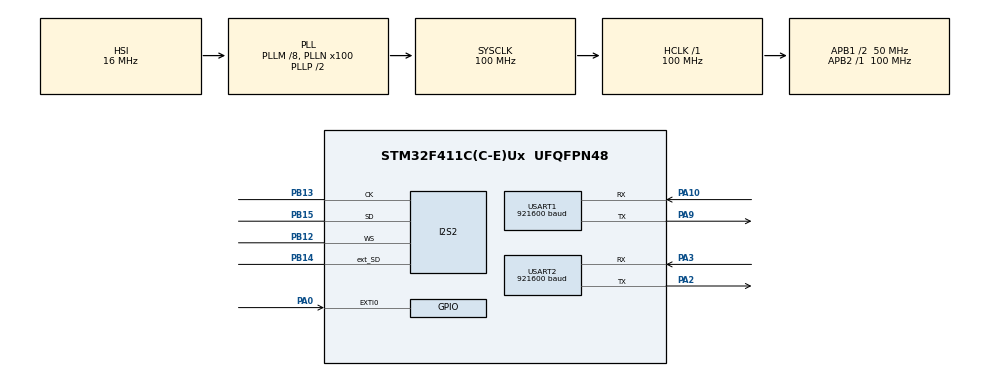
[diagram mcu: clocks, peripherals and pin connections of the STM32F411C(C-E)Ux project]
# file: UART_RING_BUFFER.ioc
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Dma.I2S2_EXT_TX.2.Direction=DMA_MEMORY_TO_PERIPH
Dma.I2S2_EXT_TX.2.FIFOMode=DMA_FIFOMODE_DISABLE
Dma.I2S2_EXT_TX.2.Instance=DMA1_Stream4
Dma.I2S2_EXT_TX.2.MemDataAlignment=DMA_MDATAALIGN_HALFWORD
Dma.I2S2_EXT_TX.2.MemInc=DMA_MINC_ENABLE
Dma.I2S2_EXT_TX.2.Mode=DMA_CIRCULAR
Dma.I2S2_EXT_TX.2.PeriphDataAlignment=DMA_PDATAALIGN_HALFWORD
Dma.I2S2_EXT_TX.2.PeriphInc=DMA_PINC_DISABLE
Dma.I2S2_EXT_TX.2.Priority=DMA_PRIORITY_LOW
Dma.Request0=USART2_RX
Dma.Request1=USART1_RX
Dma.Request2=I2S2_EXT_TX
Dma.Request3=SPI2_RX
Dma.SPI2_RX.3.Direction=DMA_PERIPH_TO_MEMORY
Dma.SPI2_RX.3.FIFOMode=DMA_FIFOMODE_DISABLE
Dma.SPI2_RX.3.Instance=DMA1_Stream3
Dma.SPI2_RX.3.MemDataAlignment=DMA_MDATAALIGN_HALFWORD
Dma.SPI2_RX.3.MemInc=DMA_MINC_ENABLE
Dma.SPI2_RX.3.Mode=DMA_CIRCULAR
Dma.SPI2_RX.3.PeriphDataAlignment=DMA_PDATAALIGN_HALFWORD
Dma.SPI2_RX.3.PeriphInc=DMA_PINC_DISABLE
Dma.SPI2_RX.3.Priority=DMA_PRIORITY_LOW
Dma.USART1_RX.1.Direction=DMA_PERIPH_TO_MEMORY
Dma.USART1_RX.1.FIFOMode=DMA_FIFOMODE_DISABLE
Dma.USART1_RX.1.Instance=DMA2_Stream2
Dma.USART1_RX.1.MemDataAlignment=DMA_MDATAALIGN_BYTE
Dma.USART1_RX.1.MemInc=DMA_MINC_ENABLE
Dma.USART1_RX.1.Mode=DMA_CIRCULAR
Dma.USART1_RX.1.PeriphDataAlignment=DMA_PDATAALIGN_BYTE
Dma.USART1_RX.1.PeriphInc=DMA_PINC_DISABLE
Dma.USART1_RX.1.Priority=DMA_PRIORITY_LOW
Dma.USART2_RX.0.Direction=DMA_PERIPH_TO_MEMORY
Dma.USART2_RX.0.FIFOMode=DMA_FIFOMODE_DISABLE
Dma.USART2_RX.0.Instance=DMA1_Stream5
Dma.USART2_RX.0.MemDataAlignment=DMA_MDATAALIGN_BYTE
Dma.USART2_RX.0.MemInc=DMA_MINC_ENABLE
Dma.USART2_RX.0.Mode=DMA_CIRCULAR
Dma.USART2_RX.0.PeriphDataAlignment=DMA_PDATAALIGN_BYTE
Dma.USART2_RX.0.PeriphInc=DMA_PINC_DISABLE
Dma.USART2_RX.0.Priority=DMA_PRIORITY_LOW
I2S2.AudioFreq=I2S_AUDIOFREQ_16K
I2S2.DataFormat=I2S_DATAFORMAT_24B
I2S2.ErrorAudioFreq=-0.26 %
I2S2.FullDuplexMode=I2S_FULLDUPLEXMODE_ENABLE
I2S2.Instance=SPI$Index
I2S2.Mode=I2S_MODE_MASTER_RX
I2S2.RealAudioFreq=15.957 KHz
I2S2.VirtualMode=I2S_MODE_MASTER
Mcu.Family=STM32F4
Mcu.Name=STM32F411C(C-E)Ux
Mcu.Package=UFQFPN48
NVIC.DMA1_Stream3_IRQn=true\:0\:0\:false\:false\:true\:false\:true\:true
NVIC.DMA1_Stream4_IRQn=true\:0\:0\:false\:false\:true\:false\:true\:true
NVIC.DMA1_Stream5_IRQn=true\:0\:0\:false\:false\:true\:false\:true\:true
NVIC.DMA2_Stream2_IRQn=true\:0\:0\:false\:false\:true\:false\:true\:true
NVIC.EXTI0_IRQn=true\:0\:0\:false\:false\:true\:true\:true\:true
NVIC.PriorityGroup=NVIC_PRIORITYGROUP_4
NVIC.SPI2_IRQn=true\:0\:0\:false\:false\:true\:true\:true\:true
NVIC.TIM1_BRK_TIM9_IRQn=true\:15\:0\:false\:false\:true\:false\:true\:true
NVIC.TimeBase=TIM1_BRK_TIM9_IRQn
NVIC.TimeBaseIP=TIM9
NVIC.USART1_IRQn=true\:0\:0\:false\:false\:true\:true\:true\:true
NVIC.USART2_IRQn=true\:0\:0\:false\:false\:true\:true\:true\:true
PA0-WKUP.GPIO_PuPd=GPIO_PULLDOWN
PA0-WKUP.Signal=GPXTI0
PA10.Mode=Asynchronous
PA10.Signal=USART1_RX
PA2.Mode=Asynchronous
PA2.Signal=USART2_TX
PA3.Mode=Asynchronous
PA3.Signal=USART2_RX
PA9.Mode=Asynchronous
PA9.Signal=USART1_TX
PB12.Mode=Full_Duplex_Master
PB12.Signal=I2S2_WS
PB13.Mode=Full_Duplex_Master
PB13.Signal=I2S2_CK
PB14.Mode=Full_Duplex_Master
PB14.Signal=I2S2_ext_SD
PB15.Mode=Full_Duplex_Master
PB15.Signal=I2S2_SD
ProjectManager.HeapSize=0x200
ProjectManager.StackSize=0x400
ProjectManager.TargetToolchain=STM32CubeIDE
RCC.48MHZClocksFreq_Value=50000000
RCC.AHBFreq_Value=100000000
RCC.APB1CLKDivider=RCC_HCLK_DIV2
RCC.APB1Freq_Value=50000000
RCC.APB1TimFreq_Value=100000000
RCC.APB2Freq_Value=100000000
RCC.APB2TimFreq_Value=100000000
RCC.CortexFreq_Value=100000000
RCC.HCLKFreq_Value=100000000
RCC.HSE_VALUE=25000000
RCC.HSI_VALUE=16000000
RCC.LSE_VALUE=32768
RCC.PLLM=8
RCC.PLLN=100
RCC.SYSCLKFreq_VALUE=100000000
RCC.SYSCLKSource=RCC_SYSCLKSOURCE_PLLCLK
RCC.VCOOutputFreq_Value=200000000
USART1.BaudRate=921600
USART1.VirtualMode=VM_ASYNC
USART2.BaudRate=921600
USART2.VirtualMode=VM_ASYNC
VP_SYS_VS_tim9.Mode=TIM9
board=custom

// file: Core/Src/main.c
/* USER CODE BEGIN Header */
/**
  ******************************************************************************
  * @file           : main.c
  * @brief          : Main program body
  ******************************************************************************
  * @attention
  *
  * Copyright (c) 2026 STMicroelectronics.
  * All rights reserved.
  *
  * This software is licensed under terms that can be found in the LICENSE file
  * in the root directory of this software component.
  * If no LICENSE file comes with this software, it is provided AS-IS.
  *
  ******************************************************************************
  */
/* USER CODE END Header */
#include "main.h"

/* USER CODE BEGIN Includes */
#include <stdio.h>
#include <string.h>
#include <stdlib.h>
/* USER CODE END Includes */

/* USER CODE BEGIN PD */
#define RX_BUFF_SIZE      2048
#define RING_BUFF_SIZE    2048

//I2S2 peripheral
#define I2S_SLOTS_TOTAL   512U
#define I2S_HALFWORDS     (I2S_SLOTS_TOTAL * 2U)

/* === FINAL: ESP32 State Machine Timing === */
#define ESP_CMD_TIMEOUT_MS       10000
#define ESP_WIFI_TIMEOUT_MS      20000
#define ESP_TCP_TIMEOUT_MS       15000
#define ESP_RETRY_MAX            5
#define ESP_TCP_RETRY_DELAY_MS   5000

/* === FINAL: TCP Audio Streaming === */
#define TCP_CHUNK_SIZE           2048   // audio payload per frame
#define TCP_SEND_WAIT_MS         15
/* USER CODE END PD */

I2S_HandleTypeDef hi2s2;
I2S_HandleTypeDef hi2s2ext;
DMA_HandleTypeDef hdma_i2s2_ext_tx;
DMA_HandleTypeDef hdma_spi2_rx;

UART_HandleTypeDef huart1;
UART_HandleTypeDef huart2;
DMA_HandleTypeDef hdma_usart1_rx;
DMA_HandleTypeDef hdma_usart2_rx;

/* USER CODE BEGIN PV */
uint8_t rx_buffer[RX_BUFF_SIZE];
uint8_t esp32_rx_buffer[RX_BUFF_SIZE];
uint8_t ring_buffer[RING_BUFF_SIZE];

uint16_t rx_curr_pos = 0;
uint16_t rx_prev_pos = 0;
uint16_t ring_head = 0;
uint16_t ring_tail = 0;
uint8_t esp_ring_buffer[RING_BUFF_SIZE];

uint16_t esp_rx_curr_pos = 0;
uint16_t esp_rx_prev_pos = 0;
uint16_t esp_ring_head = 0;
uint16_t esp_ring_tail = 0;

//I2S2 peripheral
static uint16_t i2sBuffer[I2S_HALFWORDS];
volatile uint8_t bufHalfReady = 0;
volatile uint8_t bufFullReady = 0;

/* === Stage 2: Audio streaming === */
#define SAMPLES_PER_HALF  128
#define BYTES_PER_HALF    (SAMPLES_PER_HALF * sizeof(int16_t))

static int16_t audioBufA[SAMPLES_PER_HALF];
static int16_t audioBufB[SAMPLES_PER_HALF];
static volatile uint8_t fillIndex = 0;
static volatile uint8_t sendReady = 0;
static volatile uint8_t isRecording = 0;

/* === FINAL: Button debounce & safe flags === */
static volatile uint32_t lastButtonMs = 0;
static volatile uint8_t btnPressFlag = 0;
static volatile uint8_t btnReleaseFlag = 0;
static volatile uint8_t btnLastState = 0;
#define BTN_DEBOUNCE_MS 300

/* === FINAL: TCP Audio Buffers (length-prefixed) === */
// Each chunk on wire: [2-byte len, little-endian][2048 bytes audio]
#define TCP_WIRE_SIZE      (2 + TCP_CHUNK_SIZE)
static uint8_t tcpAccumA[TCP_CHUNK_SIZE];
static uint8_t tcpAccumB[TCP_CHUNK_SIZE];
static uint8_t *tcpAccumFill = tcpAccumA;
static uint8_t *tcpAccumSendPtr = NULL;
static uint16_t tcpAccumIdx = 0;
static uint16_t tcpSendLen = 0;  // total wire bytes (prefix + audio)
static volatile uint8_t tcpSendPending = 0;

typedef enum {
    TCP_IDLE,
    TCP_CMD,
    TCP_WAIT,
    TCP_DATA,
    TCP_WAIT_OK
} TCP_SendState_t;
static TCP_SendState_t tcpSendState = TCP_IDLE;
static uint32_t tcpTimer = 0;

/* === FINAL: ESP32 State Machine === */
typedef enum {
    ESP_INIT,
    ESP_WAIT_AT,
    ESP_SET_MODE,
    ESP_WAIT_MODE,
    ESP_SET_MUX,
    ESP_WAIT_MUX,
    ESP_CONNECT_WIFI,
    ESP_WAIT_WIFI,
    ESP_VERIFY_IP,
    ESP_WAIT_IP,
    ESP_WIFI_READY,
    ESP_TCP_START,
    ESP_WAIT_TCP_CONNECT,
    ESP_TCP_CLOSE_FOR_RETRY,
    ESP_WAIT_CLOSE,
    ESP_TCP_TEST_SEND,
    ESP_WAIT_PROMPT,
    ESP_WAIT_SEND_OK,
    ESP_AUDIO_READY,
    ESP_ERROR
} ESP_State_t;

static ESP_State_t espState = ESP_INIT;
static uint32_t espTimer = 0;
static uint32_t espBootDelay = 0;
static uint8_t atRetries = 0;

static uint8_t respOK = 0;
static uint8_t respError = 0;
static uint8_t respConnect = 0;
static uint8_t respAlreadyConnected = 0;
static uint8_t respSendOK = 0;
static uint8_t respClosed = 0;
static uint32_t tcpRetryDelay = 0;

static char espStaIp[16] = {0};

/* USER CODE END PV */

void SystemClock_Config(void);
static void MX_GPIO_Init(void);
static void MX_DMA_Init(void);
static void MX_USART2_UART_Init(void);
static void MX_USART1_UART_Init(void);
static void MX_I2S2_Init(void);
/* USER CODE BEGIN PFP */
void ProcessAudioBlock(uint16_t *data, uint16_t numHalfwords);
void ESP32_ProcessResponses(void);
void ESP32_StateMachine(void);
void TCP_AudioSendStateMachine(void);
void ring_buffer_write(uint8_t *data, uint16_t len);
void esp_ring_buffer_write(uint8_t *data, uint16_t len);
/* USER CODE END PFP */

int main(void)
{

  /* MCU Configuration--------------------------------------------------------*/

  /* Reset of all peripherals, Initializes the Flash interface and the Systick. */
  HAL_Init();

  /* Configure the system clock */
  SystemClock_Config();

  /* Initialize all configured peripherals */
  MX_GPIO_Init();
  MX_DMA_Init();
  MX_USART2_UART_Init();
  MX_USART1_UART_Init();
  MX_I2S2_Init();
  /* USER CODE BEGIN 2 */
  HAL_UART_Receive_DMA(&huart1, esp32_rx_buffer, RX_BUFF_SIZE);
  __HAL_UART_ENABLE_IT(&huart1, UART_IT_IDLE);
  static uint16_t txDummyBuffer[I2S_HALFWORDS] = {0};
  // CORRECT — 4 arguments, only the main handle
  HAL_I2SEx_TransmitReceive_DMA(&hi2s2, txDummyBuffer, i2sBuffer, I2S_SLOTS_TOTAL);
  /* Infinite loop */
  while (1)
  {
	  /* USER CODE BEGIN 3 */
	        ESP32_ProcessResponses();
	        ESP32_StateMachine();

	        if (btnPressFlag)
	        {
	            btnPressFlag = 0;
	            if (espState == ESP_AUDIO_READY) {
	                HAL_UART_Transmit(&huart2, (uint8_t*)"REC START\r\n", 11, 100);
	            } else {
	                HAL_UART_Transmit(&huart2, (uint8_t*)"BTN: not ready\r\n", 16, 100);
	            }
	        }
	        if (btnReleaseFlag)
	        {
	            btnReleaseFlag = 0;
	            HAL_UART_Transmit(&huart2, (uint8_t*)"REC STOP\r\n", 10, 100);
	        }

	        if (tcpSendPending && tcpSendState == TCP_IDLE && espState == ESP_AUDIO_READY)
	        {
	            tcpSendPending = 0;
	            tcpSendState = TCP_CMD;
	        }
	        TCP_AudioSendStateMachine();

	        if (bufHalfReady) {
	            bufHalfReady = 0;
	            ProcessAudioBlock(&i2sBuffer[0], I2S_HALFWORDS / 2U);
	        }
	        if (bufFullReady) {
	            bufFullReady = 0;
	            ProcessAudioBlock(&i2sBuffer[I2S_HALFWORDS / 2U], I2S_HALFWORDS / 2U);
	        }
	  /* USER CODE END 3 */

  }
}

void SystemClock_Config(void)
{
  RCC_OscInitTypeDef RCC_OscInitStruct = {0};
  RCC_ClkInitTypeDef RCC_ClkInitStruct = {0};

  /** Configure the main internal regulator output voltage
  */
  __HAL_RCC_PWR_CLK_ENABLE();
  __HAL_PWR_VOLTAGESCALING_CONFIG(PWR_REGULATOR_VOLTAGE_SCALE1);

  /** Initializes the RCC Oscillators according to the specified parameters
  * in the RCC_OscInitTypeDef structure.
  */
  RCC_OscInitStruct.OscillatorType = RCC_OSCILLATORTYPE_HSI;
  RCC_OscInitStruct.HSIState = RCC_HSI_ON;
  RCC_OscInitStruct.HSICalibrationValue = RCC_HSICALIBRATION_DEFAULT;
  RCC_OscInitStruct.PLL.PLLState = RCC_PLL_ON;
  RCC_OscInitStruct.PLL.PLLSource = RCC_PLLSOURCE_HSI;
  RCC_OscInitStruct.PLL.PLLM = 8;
  RCC_OscInitStruct.PLL.PLLN = 100;
  RCC_OscInitStruct.PLL.PLLP = RCC_PLLP_DIV2;
  RCC_OscInitStruct.PLL.PLLQ = 4;
  if (HAL_RCC_OscConfig(&RCC_OscInitStruct) != HAL_OK)
  {
    Error_Handler();
  }

  /** Initializes the CPU, AHB and APB buses clocks
  */
  RCC_ClkInitStruct.ClockType = RCC_CLOCKTYPE_HCLK|RCC_CLOCKTYPE_SYSCLK
                              |RCC_CLOCKTYPE_PCLK1|RCC_CLOCKTYPE_PCLK2;
  RCC_ClkInitStruct.SYSCLKSource = RCC_SYSCLKSOURCE_PLLCLK;
  RCC_ClkInitStruct.AHBCLKDivider = RCC_SYSCLK_DIV1;
  RCC_ClkInitStruct.APB1CLKDivider = RCC_HCLK_DIV2;
  RCC_ClkInitStruct.APB2CLKDivider = RCC_HCLK_DIV1;

  if (HAL_RCC_ClockConfig(&RCC_ClkInitStruct, FLASH_LATENCY_3) != HAL_OK)
  {
    Error_Handler();
  }
}

static void MX_I2S2_Init(void)
{

  hi2s2.Instance = SPI2;
  hi2s2.Init.Mode = I2S_MODE_MASTER_RX;
  hi2s2.Init.Standard = I2S_STANDARD_PHILIPS;
  hi2s2.Init.DataFormat = I2S_DATAFORMAT_24B;
  hi2s2.Init.MCLKOutput = I2S_MCLKOUTPUT_DISABLE;
  hi2s2.Init.AudioFreq = I2S_AUDIOFREQ_16K;
  hi2s2.Init.CPOL = I2S_CPOL_LOW;
  hi2s2.Init.ClockSource = I2S_CLOCK_PLL;
  hi2s2.Init.FullDuplexMode = I2S_FULLDUPLEXMODE_ENABLE;
  if (HAL_I2S_Init(&hi2s2) != HAL_OK)
  {
    Error_Handler();
  }
  /* USER CODE BEGIN I2S2_Init 2 */
  /* USER CODE BEGIN I2S2_Init 2 */
  hi2s2ext.Instance = I2S2ext;
  hi2s2ext.Init.Mode = I2S_MODE_SLAVE_TX;
  hi2s2ext.Init.Standard = I2S_STANDARD_PHILIPS;
  hi2s2ext.Init.DataFormat = I2S_DATAFORMAT_24B;
  hi2s2ext.Init.MCLKOutput = I2S_MCLKOUTPUT_DISABLE;
  hi2s2ext.Init.AudioFreq = I2S_AUDIOFREQ_16K;
  hi2s2ext.Init.CPOL = I2S_CPOL_LOW;
  hi2s2ext.Init.ClockSource = I2S_CLOCK_PLL;
  hi2s2ext.Init.FullDuplexMode = I2S_FULLDUPLEXMODE_DISABLE;
  if (HAL_I2S_Init(&hi2s2ext) != HAL_OK)
  {
      Error_Handler();
  }
  /* USER CODE END I2S2_Init 2 */

  /* USER CODE END I2S2_Init 2 */

}

static void MX_USART1_UART_Init(void)
{

  huart1.Instance = USART1;
  huart1.Init.BaudRate = 921600;
  huart1.Init.WordLength = UART_WORDLENGTH_8B;
  huart1.Init.StopBits = UART_STOPBITS_1;
  huart1.Init.Parity = UART_PARITY_NONE;
  huart1.Init.Mode = UART_MODE_TX_RX;
  huart1.Init.HwFlowCtl = UART_HWCONTROL_NONE;
  huart1.Init.OverSampling = UART_OVERSAMPLING_16;
  if (HAL_UART_Init(&huart1) != HAL_OK)
  {
    Error_Handler();
  }

}

static void MX_USART2_UART_Init(void)
{

  huart2.Instance = USART2;
  huart2.Init.BaudRate = 921600;
  huart2.Init.WordLength = UART_WORDLENGTH_8B;
  huart2.Init.StopBits = UART_STOPBITS_1;
  huart2.Init.Parity = UART_PARITY_NONE;
  huart2.Init.Mode = UART_MODE_TX_RX;
  huart2.Init.HwFlowCtl = UART_HWCONTROL_NONE;
  huart2.Init.OverSampling = UART_OVERSAMPLING_16;
  if (HAL_UART_Init(&huart2) != HAL_OK)
  {
    Error_Handler();
  }

}

static void MX_DMA_Init(void)
{

  /* DMA controller clock enable */
  __HAL_RCC_DMA1_CLK_ENABLE();
  __HAL_RCC_DMA2_CLK_ENABLE();

  /* DMA interrupt init */
  /* DMA1_Stream3_IRQn interrupt configuration */
  HAL_NVIC_SetPriority(DMA1_Stream3_IRQn, 0, 0);
  HAL_NVIC_EnableIRQ(DMA1_Stream3_IRQn);
  /* DMA1_Stream4_IRQn interrupt configuration */
  HAL_NVIC_SetPriority(DMA1_Stream4_IRQn, 0, 0);
  HAL_NVIC_EnableIRQ(DMA1_Stream4_IRQn);
  /* DMA1_Stream5_IRQn interrupt configuration */
  HAL_NVIC_SetPriority(DMA1_Stream5_IRQn, 0, 0);
  HAL_NVIC_EnableIRQ(DMA1_Stream5_IRQn);
  /* DMA2_Stream2_IRQn interrupt configuration */
  HAL_NVIC_SetPriority(DMA2_Stream2_IRQn, 0, 0);
  HAL_NVIC_EnableIRQ(DMA2_Stream2_IRQn);

}

static void MX_GPIO_Init(void)
{
  GPIO_InitTypeDef GPIO_InitStruct = {0};

  /* GPIO Ports Clock Enable */
  __HAL_RCC_GPIOA_CLK_ENABLE();
  __HAL_RCC_GPIOB_CLK_ENABLE();

  /*Configure GPIO pin : PA0 */
  GPIO_InitStruct.Pin = GPIO_PIN_0;
  GPIO_InitStruct.Mode = GPIO_MODE_IT_RISING_FALLING;  // Was GPIO_MODE_IT_RISING
  GPIO_InitStruct.Pull = GPIO_PULLDOWN;
  HAL_GPIO_Init(GPIOA, &GPIO_InitStruct);

  /* EXTI interrupt init*/
  HAL_NVIC_SetPriority(EXTI0_IRQn, 0, 0);
  HAL_NVIC_EnableIRQ(EXTI0_IRQn);

}

/* USER CODE BEGIN 4 */

/* === FINAL: ESP32 Helper Functions === */

int ESP32_ReadLine(char *line, uint16_t maxLen)
{
    uint16_t i = 0;
    uint16_t tempTail = esp_ring_tail;

    while (tempTail != esp_ring_head && i < maxLen - 1)
    {
        line[i] = esp_ring_buffer[tempTail];
        tempTail = (tempTail + 1) % RING_BUFF_SIZE;
        i++;

        if (i >= 2 && line[i - 2] == '\r' && line[i - 1] == '\n')
        {
            line[i] = '\0';
            esp_ring_tail = tempTail;
            return i;
        }
    }
    return 0;
}

uint8_t ESP32_ParseCIFSR_IP(const char *line, char *ipOut, uint8_t maxLen)
{
    const char *p = strstr(line, "STAIP,");
    if (!p) return 0;
    p = strchr(p, '"');
    if (!p) return 0;
    p++;
    uint8_t i = 0;
    while (*p && *p != '"' && i < maxLen - 1)
    {
        ipOut[i++] = *p++;
    }
    ipOut[i] = '\0';
    return (i > 0 && strcmp(ipOut, "0.0.0.0") != 0);
}

void ESP32_ProcessResponses(void)
{
    char line[128];
    while (ESP32_ReadLine(line, sizeof(line)))
    {
        if (strstr(line, "SEND OK"))
            respSendOK = 1;
        if (strstr(line, "OK"))
            respOK = 1;
        if (strstr(line, "ERROR") || strstr(line, "FAIL") || strstr(line, "busy"))
            respError = 1;
        if (strstr(line, "CONNECT") && !strstr(line, "FAIL"))
            respConnect = 1;
        if (strstr(line, "ALREADY CONNECTED"))
            respAlreadyConnected = 1;
        if (strstr(line, "CLOSED"))
            respClosed = 1;
        if (ESP32_ParseCIFSR_IP(line, espStaIp, sizeof(espStaIp))) { /* IP parsed */ }
    }
}

void ESP32_ClearFlags(void)
{
    respOK = 0;
    respError = 0;
    respConnect = 0;
    respAlreadyConnected = 0;
    respSendOK = 0;
    respClosed = 0;
}

void ESP32_SendCommand(const char *cmd)
{
    HAL_UART_Transmit(&huart1, (uint8_t*)cmd, strlen(cmd), HAL_MAX_DELAY);
    ESP32_ClearFlags();
    espTimer = HAL_GetTick();
}

void ESP32_StateMachine(void)
{
    switch (espState)
    {
        case ESP_INIT:
            if (espBootDelay == 0) espBootDelay = HAL_GetTick();
            if ((HAL_GetTick() - espBootDelay) > 2000)
            {
                HAL_UART_Transmit(&huart2, (uint8_t*)"[ESP] Stage 1: Starting...\r\n", 28, 100);
                ESP32_SendCommand("AT\r\n");
                espState = ESP_WAIT_AT;
            }
            break;

        case ESP_WAIT_AT:
            if (respOK) {
                HAL_UART_Transmit(&huart2, (uint8_t*)"[ESP] AT OK\r\n", 13, 100);
                ESP32_SendCommand("AT+CWMODE=1\r\n");
                espState = ESP_WAIT_MODE; atRetries = 0;
            } else if (respError || (HAL_GetTick() - espTimer) > ESP_CMD_TIMEOUT_MS) {
                HAL_UART_Transmit(&huart2, (uint8_t*)"[ESP] AT fail, retry\r\n", 22, 100);
                espBootDelay = 0; espState = ESP_INIT; atRetries++;
                if (atRetries > ESP_RETRY_MAX) espState = ESP_ERROR;
            }
            break;

        case ESP_SET_MODE: espState = ESP_WAIT_MODE; break;

        case ESP_WAIT_MODE:
            if (respOK) {
                HAL_UART_Transmit(&huart2, (uint8_t*)"[ESP] STA mode OK\r\n", 19, 100);
                ESP32_SendCommand("AT+CIPMUX=0\r\n");
                espState = ESP_WAIT_MUX;
            } else if (respError || (HAL_GetTick() - espTimer) > ESP_CMD_TIMEOUT_MS) {
                HAL_UART_Transmit(&huart2, (uint8_t*)"[ESP] Mode fail\r\n", 17, 100);
                espState = ESP_INIT;
            }
            break;

        case ESP_SET_MUX: espState = ESP_WAIT_MUX; break;

        case ESP_WAIT_MUX:
            if (respOK) {
                HAL_UART_Transmit(&huart2, (uint8_t*)"[ESP] MUX=0 OK\r\n", 16, 100);
                char cmd[128];
                snprintf(cmd, sizeof(cmd), "AT+CWJAP=\"reenanup_2.4G\",\"15772424\"\r\n");
                ESP32_SendCommand(cmd);
                espState = ESP_WAIT_WIFI;
            } else if (respError || (HAL_GetTick() - espTimer) > ESP_CMD_TIMEOUT_MS) {
                HAL_UART_Transmit(&huart2, (uint8_t*)"[ESP] MUX fail\r\n", 16, 100);
                espState = ESP_INIT;
            }
            break;

        case ESP_CONNECT_WIFI: espState = ESP_WAIT_WIFI; break;

        case ESP_WAIT_WIFI:
            if (respOK && !respError) {
                HAL_UART_Transmit(&huart2, (uint8_t*)"[ESP] WiFi cmd OK, checking IP...\r\n", 35, 100);
                memset(espStaIp, 0, sizeof(espStaIp));
                ESP32_SendCommand("AT+CIFSR\r\n");
                espState = ESP_WAIT_IP;
            } else if (respError || (HAL_GetTick() - espTimer) > ESP_WIFI_TIMEOUT_MS) {
                HAL_UART_Transmit(&huart2, (uint8_t*)"[ESP] WiFi conn failed\r\n", 24, 100);
                espState = ESP_INIT;
            }
            break;

        case ESP_VERIFY_IP: espState = ESP_WAIT_IP; break;

        case ESP_WAIT_IP:
            if (respOK) {
                if (strlen(espStaIp) > 0) {
                    char msg[64];
                    snprintf(msg, sizeof(msg), "[ESP] IP=%s\r\n", espStaIp);
                    HAL_UART_Transmit(&huart2, (uint8_t*)msg, strlen(msg), 100);
                    HAL_UART_Transmit(&huart2, (uint8_t*)"[ESP] Stage 1 COMPLETE. WiFi Ready.\r\n", 37, 100);
                    espState = ESP_WIFI_READY; atRetries = 0;
                } else {
                    HAL_UART_Transmit(&huart2, (uint8_t*)"[ESP] IP=0.0.0.0, retry WiFi\r\n", 30, 100);
                    espState = ESP_INIT;
                }
            } else if (respError || (HAL_GetTick() - espTimer) > ESP_CMD_TIMEOUT_MS) {
                HAL_UART_Transmit(&huart2, (uint8_t*)"[ESP] IP check fail\r\n", 21, 100);
                espState = ESP_INIT;
            }
            break;

        case ESP_WIFI_READY:
        {
            static uint8_t announced = 0;
            if (!announced) { HAL_UART_Transmit(&huart2, (uint8_t*)"[ESP] Ready for Stage 2 (TCP)\r\n", 31, 100); announced = 1; }
            static uint32_t t2 = 0;
            if (t2 == 0) t2 = HAL_GetTick();
            if ((HAL_GetTick() - t2) > 1000) { espState = ESP_TCP_START; t2 = 0; }
            break;
        }

        case ESP_TCP_START:
            if (tcpRetryDelay > 0) {
                if ((HAL_GetTick() - tcpRetryDelay) < ESP_TCP_RETRY_DELAY_MS) break;
                tcpRetryDelay = 0;
            }
            HAL_UART_Transmit(&huart2, (uint8_t*)"[ESP] Stage 2: Connecting TCP...\r\n", 34, 100);
            /* === REPLACE IP WITH YOUR PC'S WIFI IP === */
            ESP32_SendCommand("AT+CIPSTART=\"TCP\",\"192.168.1.23\",12345\r\n");
            espState = ESP_WAIT_TCP_CONNECT;
            break;

        case ESP_WAIT_TCP_CONNECT:
            if (respConnect || respAlreadyConnected) {
                HAL_UART_Transmit(&huart2, (uint8_t*)"[ESP] TCP Connected\r\n", 21, 100);
                ESP32_ClearFlags();
                espState = ESP_TCP_TEST_SEND;
            } else if (respError || respClosed || (HAL_GetTick() - espTimer) > ESP_TCP_TIMEOUT_MS) {
                HAL_UART_Transmit(&huart2, (uint8_t*)"[ESP] TCP conn failed, closing...\r\n", 35, 100);
                ESP32_SendCommand("AT+CIPCLOSE\r\n");
                espState = ESP_TCP_CLOSE_FOR_RETRY;
            }
            break;

        case ESP_TCP_CLOSE_FOR_RETRY: espState = ESP_WAIT_CLOSE; break;

        case ESP_WAIT_CLOSE:
            if (respOK || respClosed || (HAL_GetTick() - espTimer) > 3000) {
                HAL_UART_Transmit(&huart2, (uint8_t*)"[ESP] Retry TCP in 5s...\r\n", 26, 100);
                tcpRetryDelay = HAL_GetTick();
                espState = ESP_TCP_START;
            }
            break;

        case ESP_TCP_TEST_SEND:
            ESP32_SendCommand("AT+CIPSEND=5\r\n");
            espState = ESP_WAIT_PROMPT;
            break;

        case ESP_WAIT_PROMPT:
            if (respError) {
                HAL_UART_Transmit(&huart2, (uint8_t*)"[ESP] CIPSEND rejected\r\n", 24, 100);
                espState = ESP_TCP_START;
            } else if ((HAL_GetTick() - espTimer) > 300) {
                HAL_UART_Transmit(&huart1, (uint8_t*)"HELLO", 5, HAL_MAX_DELAY);
                espState = ESP_WAIT_SEND_OK;
                espTimer = HAL_GetTick();
            }
            break;

        case ESP_WAIT_SEND_OK:
            if (respSendOK || respOK) {
                HAL_UART_Transmit(&huart2, (uint8_t*)"[ESP] HELLO OK. Audio ready.\r\n", 30, 100);
                espState = ESP_AUDIO_READY;
            } else if (respError || (HAL_GetTick() - espTimer) > 5000) {
                HAL_UART_Transmit(&huart2, (uint8_t*)"[ESP] Send timeout\r\n", 20, 100);
                espState = ESP_TCP_START;
            }
            break;

        case ESP_AUDIO_READY:
        {
            static uint8_t announced = 0;
            if (!announced) {
                HAL_UART_Transmit(&huart2, (uint8_t*)"[ESP] Stage 4 ACTIVE. Audio -> TCP.\r\n", 37, 100);
                HAL_UART_Transmit(&huart2, (uint8_t*)"[ESP] Press button to stream.\r\n", 31, 100);
                announced = 1;
            }
            break;
        }

        case ESP_ERROR:
            HAL_UART_Transmit(&huart2, (uint8_t*)"[ESP] FATAL. Reset in 5s...\r\n", 29, 100);
            HAL_Delay(5000);
            NVIC_SystemReset();
            break;

        default: espState = ESP_INIT; break;
    }
}

/* === FINAL: TCP Audio Send State Machine === */
void TCP_AudioSendStateMachine(void)
{
    switch (tcpSendState)
    {
        case TCP_IDLE: break;

        case TCP_CMD:
        {
            respSendOK = 0; respOK = 0; respError = 0; respClosed = 0;
            char cmd[32];
            snprintf(cmd, sizeof(cmd), "AT+CIPSEND=%d\r\n", tcpSendLen);
            HAL_UART_Transmit(&huart1, (uint8_t*)cmd, strlen(cmd), HAL_MAX_DELAY);

            // --- DEBUG ---
            char dbg[48];
            snprintf(dbg, sizeof(dbg), "[TCP] CMD CIPSEND=%d\r\n", tcpSendLen);
            HAL_UART_Transmit(&huart2, (uint8_t*)dbg, strlen(dbg), 50);
            // -------------

            tcpTimer = HAL_GetTick();
            tcpSendState = TCP_WAIT;
            break;
        }

        case TCP_WAIT:
            if ((HAL_GetTick() - tcpTimer) > TCP_SEND_WAIT_MS) {
                HAL_UART_Transmit(&huart2, (uint8_t*)"[TCP] WAIT->DATA\r\n", 18, 50);
                tcpSendState = TCP_DATA;
            }
            break;

        case TCP_DATA:
        {
            if (tcpAccumSendPtr != NULL && tcpSendLen > 0) {
                HAL_UART_Transmit(&huart1, tcpAccumSendPtr, tcpSendLen, HAL_MAX_DELAY);

                // --- DEBUG ---
                char dbg[48];
                snprintf(dbg, sizeof(dbg), "[TCP] SENT %d bytes\r\n", tcpSendLen);
                HAL_UART_Transmit(&huart2, (uint8_t*)dbg, strlen(dbg), 50);
                // -------------
            }
            tcpTimer = HAL_GetTick();
            tcpSendState = TCP_WAIT_OK;
            break;
        }

        case TCP_WAIT_OK:
            if (respSendOK || respOK) {
                HAL_UART_Transmit(&huart2, (uint8_t*)"[TCP] SEND OK\r\n", 15, 50);
                tcpSendState = TCP_IDLE;
                tcpAccumSendPtr = NULL;
                tcpSendLen = 0;
            } else if (respError || respClosed || (HAL_GetTick() - tcpTimer) > 5000) {
                HAL_UART_Transmit(&huart2, (uint8_t*)"[TCP] SEND FAIL / TIMEOUT\r\n", 27, 50);
                tcpSendState = TCP_IDLE;
                tcpAccumSendPtr = NULL;
                tcpSendLen = 0;
                espState = ESP_TCP_START;
            }
            break;
    }
}

/* === Existing UART IRQHandlers (unchanged) === */
void USART2_IRQHandler(void)
{
  if(__HAL_UART_GET_FLAG(&huart2,UART_FLAG_IDLE))
  {
      __HAL_UART_CLEAR_IDLEFLAG(&huart2);
      uint16_t dma_counter = __HAL_DMA_GET_COUNTER(huart2.hdmarx);
      rx_curr_pos = RX_BUFF_SIZE - dma_counter;
      if(rx_curr_pos != rx_prev_pos)
      {
          if(rx_curr_pos > rx_prev_pos) {
              uint16_t len = rx_curr_pos - rx_prev_pos;
              ring_buffer_write(&rx_buffer[rx_prev_pos],len);
              rx_prev_pos = rx_curr_pos;
          } else {
              uint16_t len1 = RX_BUFF_SIZE - rx_prev_pos;
              ring_buffer_write(&rx_buffer[rx_prev_pos], len1);
              uint16_t len2 = rx_curr_pos;
              ring_buffer_write(&rx_buffer[0], len2);
              rx_prev_pos = rx_curr_pos;
          }
      }
  }
  HAL_UART_IRQHandler(&huart2);
}

void USART1_IRQHandler(void)
{
  if(__HAL_UART_GET_FLAG(&huart1,UART_FLAG_IDLE))
  {
      __HAL_UART_CLEAR_IDLEFLAG(&huart1);
      uint16_t dma_esp_counter = __HAL_DMA_GET_COUNTER(huart1.hdmarx);
      esp_rx_curr_pos = RX_BUFF_SIZE - dma_esp_counter;
      if (esp_rx_curr_pos != esp_rx_prev_pos)
      {
          if (esp_rx_curr_pos > esp_rx_prev_pos) {
              uint16_t len = esp_rx_curr_pos - esp_rx_prev_pos;
              esp_ring_buffer_write(&esp32_rx_buffer[esp_rx_prev_pos], len);
              esp_rx_prev_pos = esp_rx_curr_pos;
          } else {
              uint16_t len1 = RX_BUFF_SIZE - esp_rx_prev_pos;
              esp_ring_buffer_write(&esp32_rx_buffer[esp_rx_prev_pos], len1);
              uint16_t len2 = esp_rx_curr_pos;
              esp_ring_buffer_write(&esp32_rx_buffer[0], len2);
              esp_rx_prev_pos = esp_rx_curr_pos;
          }
      }
  }
  HAL_UART_IRQHandler(&huart1);
}

void ring_buffer_write(uint8_t *data, uint16_t len)
{
    for (int i = 0; i < len; i++) {
        ring_buffer[ring_head] = data[i];
        ring_head = (ring_head + 1) % RING_BUFF_SIZE;
    }
}

void esp_ring_buffer_write(uint8_t *data, uint16_t len)
{
    for (int i = 0; i < len; i++) {
        esp_ring_buffer[esp_ring_head] = data[i];
        esp_ring_head = (esp_ring_head + 1) % RING_BUFF_SIZE;
    }
}

/* === FINAL: Audio Processing -> TCP with length prefix === */
/* === FINAL: Audio Processing -> TCP with length prefix === */
void ProcessAudioBlock(uint16_t *data, uint16_t numHalfwords)
{
    int16_t *fill = (fillIndex == 0) ? audioBufA : audioBufB;
    int16_t *send = (fillIndex == 0) ? audioBufB : audioBufA;

    uint16_t pairCount = numHalfwords / 4U;
    for (uint16_t i = 0; i < pairCount; i++)
    {
        uint16_t msb = data[i * 4U + 0U];
        uint16_t lsb = data[i * 4U + 1U];
        uint32_t raw = ((uint32_t)msb << 16) | lsb;
        int32_t sample24 = ((int32_t)raw) >> 8;
        fill[i] = (int16_t)(sample24 >> 8);
    }

    if (isRecording && sendReady && espState == ESP_AUDIO_READY)
    {
        if (tcpAccumIdx + BYTES_PER_HALF <= TCP_CHUNK_SIZE)
        {
            // --- DEBUG: accumulation progress ---
            if (tcpAccumIdx == BYTES_PER_HALF || tcpAccumIdx % 512 == 0) {
                char dbg[48];
                snprintf(dbg, sizeof(dbg), "[AUD] Accum %u/%u\r\n", tcpAccumIdx, TCP_CHUNK_SIZE);
                HAL_UART_Transmit(&huart2, (uint8_t*)dbg, strlen(dbg), 50);
            }
            // ------------------------------------
            memcpy(&tcpAccumFill[tcpAccumIdx], send, BYTES_PER_HALF);
            tcpAccumIdx += BYTES_PER_HALF;

            if (tcpAccumIdx >= TCP_CHUNK_SIZE && !tcpSendPending)
            {
                // Build wire frame: [2-byte len, little-endian][audio data]
                static uint8_t wireFrame[2 + TCP_CHUNK_SIZE];
                wireFrame[0] = (uint8_t)(TCP_CHUNK_SIZE & 0xFF);
                wireFrame[1] = (uint8_t)((TCP_CHUNK_SIZE >> 8) & 0xFF);
                memcpy(&wireFrame[2], tcpAccumFill, TCP_CHUNK_SIZE);

                tcpAccumSendPtr = wireFrame;
                tcpSendLen = 2 + TCP_CHUNK_SIZE;  // prefix + audio
                tcpAccumFill = (tcpAccumFill == tcpAccumA) ? tcpAccumB : tcpAccumA;
                tcpAccumIdx = 0;
                tcpSendPending = 1;
                // --- DEBUG: chunk ready ---
                {
                    char dbg[48];
                    snprintf(dbg, sizeof(dbg), "[AUD] CHUNK READY %u bytes -> TCP\r\n", tcpSendLen);
                    HAL_UART_Transmit(&huart2, (uint8_t*)dbg, strlen(dbg), 50);
                }
                // --------------------------
            }
        }
    }

    sendReady = 1;
    fillIndex ^= 1;
}

void HAL_I2S_RxHalfCpltCallback(I2S_HandleTypeDef *hi2s)
{
    if (hi2s->Instance == SPI2) bufHalfReady = 1;
}

void HAL_I2S_RxCpltCallback(I2S_HandleTypeDef *hi2s)
{
    if (hi2s->Instance == SPI2) bufFullReady = 1;
}

/* === FINAL: Button ISR === */
/* === FINAL: Button ISR === */
void HAL_GPIO_EXTI_Callback(uint16_t GPIO_Pin)
{
    if (GPIO_Pin != GPIO_PIN_0) return;

    uint32_t now = HAL_GetTick();
    if ((now - lastButtonMs) < BTN_DEBOUNCE_MS) return;

    uint8_t pinState = (HAL_GPIO_ReadPin(GPIOA, GPIO_PIN_0) == GPIO_PIN_SET) ? 1 : 0;
    if (pinState == btnLastState) return;

    btnLastState = pinState;
    lastButtonMs = now;

    if (pinState == 1)
    {
        isRecording = 1;
        sendReady = 0;
        fillIndex = 0;
        tcpAccumIdx = 0;
        btnPressFlag = 1;
        HAL_UART_Transmit(&huart2, (uint8_t*)"[BTN] PRESS -> RECORDING\r\n", 26, 50);
    }
    else
    {
        isRecording = 0;
        btnReleaseFlag = 1;

        // --- DEBUG + FLUSH PARTIAL BUFFER ---
        char dbg[64];
        snprintf(dbg, sizeof(dbg), "[BTN] RELEASE, partial=%u bytes\r\n", tcpAccumIdx);
        HAL_UART_Transmit(&huart2, (uint8_t*)dbg, strlen(dbg), 50);

        if (tcpAccumIdx > 0 && espState == ESP_AUDIO_READY && !tcpSendPending)
        {
            // Build final length-prefixed frame with actual size
            static uint8_t flushFrame[2 + TCP_CHUNK_SIZE];
            flushFrame[0] = (uint8_t)(tcpAccumIdx & 0xFF);
            flushFrame[1] = (uint8_t)((tcpAccumIdx >> 8) & 0xFF);
            memcpy(&flushFrame[2], tcpAccumFill, tcpAccumIdx);

            tcpAccumSendPtr = flushFrame;
            tcpSendLen = 2 + tcpAccumIdx;
            tcpSendPending = 1;

            HAL_UART_Transmit(&huart2, (uint8_t*)"[BTN] FLUSHED partial\r\n", 23, 50);
        }
        // ------------------------------------
    }
}

/* USER CODE END 4 */

void HAL_TIM_PeriodElapsedCallback(TIM_HandleTypeDef *htim)
{
  if (htim->Instance == TIM9)
  {
    HAL_IncTick();
  }
}

void Error_Handler(void)
{
  __disable_irq();
  while (1)
  {
  }
}
